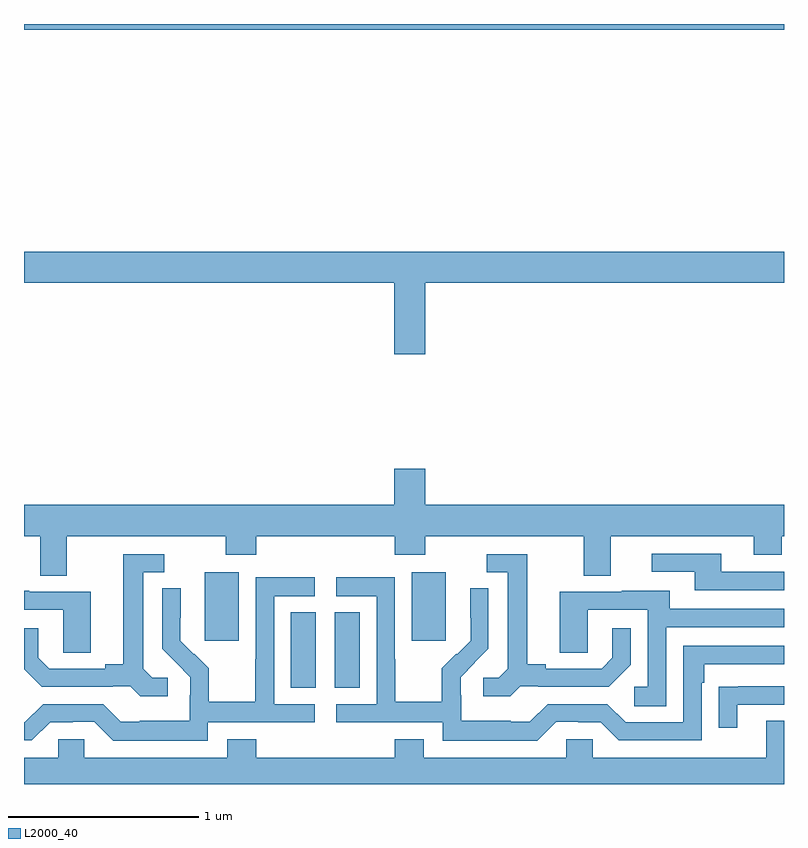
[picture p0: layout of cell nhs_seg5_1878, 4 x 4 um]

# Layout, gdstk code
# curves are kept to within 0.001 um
import gdstk
lib = gdstk.Library(unit=1e-6, precision=1e-09)
def R(c, l, rs):  # rectangles x0, y0, x1, y1
    for r in rs: c.add(gdstk.rectangle(r[:2], r[2:], *l))
def P(c, l, *ps):  # polygons
    for p in ps: c.add(gdstk.Polygon(p, *l))
L2000_40 = (2000, 40)

nhs_seg5_1878 = lib.new_cell('nhs_seg5_1878')
R(nhs_seg5_1878, L2000_40, [(224.405,845.305,224.536,845.702), (224.636,845.305,224.767,845.702), (223.952,845.553,224.131,845.914), (225.041,845.553,225.22,845.914), (223,848.768,227,848.799)])
P(nhs_seg5_1878, L2000_40, [(225.112,847.436),(227,847.436),(227,847.6),(223,847.6),(223,847.436),(224.948,847.436),(224.948,847.062),(225.112,847.062)],
  [(223.225,846.104),(224.062,846.104),(224.062,846.005),(224.222,846.005),(224.222,846.104),(224.951,846.104),(224.951,846.005),(225.111,846.005),(225.111,846.104),(225.947,846.104),(225.947,845.896),(226.087,845.896),(226.087,846.104),(226.841,846.104),(226.841,846.005),(226.989,846.005),(226.989,846.104),(227,846.104),(227,846.268),(225.112,846.268),(225.112,846.457),(224.948,846.457),(224.948,846.268),(223,846.268),(223,846.104),(223.085,846.104),(223.085,845.896),(223.225,845.896)],
  [(227,845.916),(226.669,845.916),(226.669,846.012),(226.305,846.012),(226.305,845.916),(226.529,845.916),(226.529,845.82),(227,845.82)],
  [(223.756,845.358),(223.674,845.358),(223.627,845.405),(223.627,845.913),(223.738,845.913),(223.738,846.009),(223.523,846.009),(223.523,845.429),(223.427,845.429),(223.427,845.406),(223.132,845.406),(223.075,845.463),(223.075,845.62),(223,845.62),(223,845.404),(223.094,845.31),(223.466,845.31),(223.466,845.313),(223.56,845.313),(223.612,845.261),(223.756,845.261)],
  [(225.612,845.313),(225.706,845.313),(225.706,845.31),(226.078,845.31),(226.194,845.426),(226.194,845.62),(226.097,845.62),(226.097,845.463),(226.04,845.406),(225.745,845.406),(225.745,845.429),(225.649,845.429),(225.649,846.009),(225.435,846.009),(225.435,845.913),(225.545,845.913),(225.545,845.405),(225.498,845.358),(225.417,845.358),(225.417,845.261),(225.56,845.261)],
  [(225.801,845.127),(225.917,845.127),(225.917,845.124),(226.035,845.124),(226.131,845.028),(226.566,845.028),(226.566,845.333),(226.579,845.333),(226.579,845.43),(227,845.43),(227,845.526),(226.47,845.526),(226.47,845.124),(226.167,845.124),(226.071,845.22),(225.756,845.22),(225.663,845.127),(225.563,845.127),(225.563,845.131),(225.3,845.131),(225.3,845.265),(225.298,845.265),(225.298,845.362),(225.444,845.51),(225.444,845.828),(225.348,845.828),(225.348,845.674),(225.35,845.674),(225.35,845.552),(225.279,845.481),(225.276,845.484),(225.199,845.407),(225.199,845.233),(224.955,845.233),(224.955,845.456),(224.952,845.456),(224.952,845.886),(224.643,845.886),(224.643,845.787),(224.856,845.787),(224.856,845.22),(224.643,845.22),(224.643,845.124),(225.204,845.124),(225.204,845.027),(225.701,845.027)],
  [(223.968,845.124),(224.53,845.124),(224.53,845.22),(224.316,845.22),(224.316,845.787),(224.53,845.787),(224.53,845.886),(224.22,845.886),(224.22,845.456),(224.218,845.456),(224.218,845.233),(223.973,845.233),(223.973,845.407),(223.896,845.484),(223.893,845.481),(223.823,845.552),(223.824,845.828),(223.728,845.828),(223.728,845.51),(223.874,845.362),(223.874,845.265),(223.872,845.265),(223.872,845.131),(223.609,845.131),(223.609,845.127),(223.509,845.127),(223.416,845.22),(223.101,845.22),(223.005,845.124),(223,845.124),(223,845.028),(223.041,845.028),(223.137,845.124),(223.256,845.124),(223.256,845.127),(223.371,845.127),(223.471,845.027),(223.968,845.027)],
  [(226.38,845.625),(227,845.625),(227,845.721),(226.399,845.721),(226.399,845.815),(226.145,845.815),(226.145,845.811),(225.821,845.811),(225.821,845.491),(225.966,845.491),(225.966,845.715),(226.284,845.715),(226.284,845.31),(226.212,845.31),(226.212,845.209),(226.38,845.209)],
  [(223.351,845.811),(223.027,845.811),(223.027,845.815),(223,845.815),(223,845.715),(223.206,845.715),(223.206,845.491),(223.351,845.491)],
  [(226.753,845.217),(227,845.217),(227,845.313),(226.759,845.313),(226.759,845.312),(226.657,845.312),(226.657,845.094),(226.753,845.094)],
  [(227,845.131),(226.907,845.131),(226.907,844.936),(225.993,844.936),(225.993,845.034),(225.855,845.034),(225.855,844.936),(225.103,844.936),(225.103,845.035),(224.951,845.035),(224.951,844.936),(224.222,844.936),(224.222,845.035),(224.069,845.035),(224.069,844.936),(223.317,844.936),(223.317,845.034),(223.179,845.034),(223.179,844.936),(223,844.936),(223,844.799),(227,844.799)])

lib.write_gds('nhs_seg5_1878.gds')
